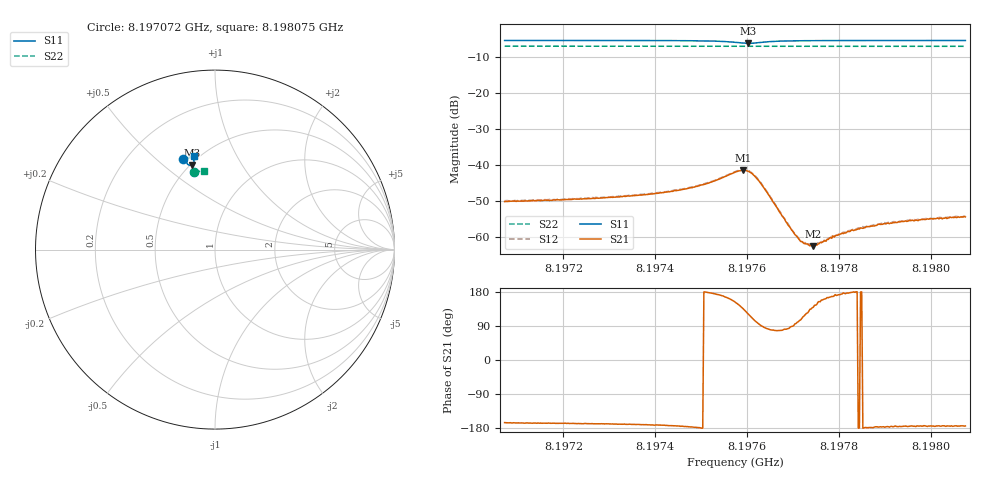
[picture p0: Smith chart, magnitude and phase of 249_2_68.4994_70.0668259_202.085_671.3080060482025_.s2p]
#  HZ  S  RI  R  50.00
! Rohde & Schwarz Vector Network Analyzer
! Rohde-Schwarz,ZNB20-2Port,1311601062101988,3.16
! Created: UTC 3/20/2024, 5:14:53 PM
! freq[Hz]  re:S11  im:S11  re:S21  im:S21  re:S12  im:S12  re:S22  im:S22
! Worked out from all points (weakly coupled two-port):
!   401 points, 8.197072 GHz to 8.198075 GHz, reference 50 ohm
!   highest |S21| = -41.39 dB at 8.197591 GHz (marker M1); lowest = -62.4 dB at 8.197744 GHz (marker M2)
!   lowest |S11| = -6.2 dB at 8.197601 GHz (marker M3), VSWR 2.91, Z = 25.4 + j31.4 ohm
!   |S11| at or under -10 dB: nowhere
!   |S22| runs from -7.1 to -7.0 dB; largest |S21 - S12| = 0.00037
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8.1970719e9  -0.176 0.506  -0.00303 -0.000805  -0.00316 -0.000668  -0.1142 0.4312
8.19724e9  -0.163 0.5098  -0.00332 -0.000727  -0.00343 -0.000615  -0.1051 0.4331
8.197408e9  -0.1472 0.5129  -0.00407 -0.000602  -0.00417 -0.000428  -0.0957 0.4351
8.1974632e9  -0.1399 0.513  -0.00465 -0.000362  -0.00475 -0.000197  -0.0925 0.4355
8.1974984e9  -0.1339 0.5122  -0.0053 -7.93e-05  -0.00536 0.000104  -0.0904 0.4358
8.1975285e9  -0.127 0.5091  -0.00602 0.000507  -0.0061 0.000767  -0.0886 0.4361
8.1975736e9  -0.1165 0.4915  -0.00714 0.00366  -0.00711 0.00398  -0.086 0.436
8.1975912e9  -0.1213 0.4772  -0.00609 0.00597  -0.00596 0.00632  -0.0854 0.4358
8.1976012e9  -0.1297 0.4711  -0.00454 0.00696  -0.00437 0.00729  -0.0849 0.4356
8.1976137e9  -0.1431 0.4704  -0.00218 0.00701  -0.00199 0.00728  -0.0847 0.4358
8.1976313e9  -0.1555 0.4801  1.32e-05 0.00542  0.000191 0.00558  -0.0839 0.4364
8.197689e9  -0.1536 0.5051  0.000186 0.00148  0.000237 0.00155  -0.0808 0.4375
8.1977091e9  -0.1503 0.5087  -0.000168 0.001  -0.000123 0.00103  -0.0795 0.4377
8.1977191e9  -0.1489 0.5099  -0.000297 0.000828  -0.000256 0.00083  -0.0789 0.4378
8.1977266e9  -0.1478 0.5108  -0.000409 0.000713  -0.00038 0.000758  -0.0783 0.4379
8.1977417e9  -0.1457 0.5121  -0.000584 0.000531  -0.000565 0.000531  -0.0776 0.4379
8.1977442e9  -0.1454 0.5123  -0.000573 0.000494  -0.000581 0.000526  -0.0775 0.438
8.1978245e9  -0.1362 0.5167  -0.00121 4.48e-05  -0.00124 6.86e-05  -0.0729 0.4387
8.197847e9  -0.1339 0.5175  -0.00136 1.16e-05  -0.00139 7.23e-05  -0.0716 0.4389
8.1979098e9  -0.1283 0.5193  -0.00154 -7.81e-05  -0.00162 -4.62e-05  -0.068 0.4395
8.1979976e9  -0.1211 0.5213  -0.00182 -0.000183  -0.00179 -0.00011  -0.0631 0.44
8.1980753e9  -0.1149 0.5225  -0.00191 -0.000199  -0.00196 -0.000123  -0.0586 0.4404
